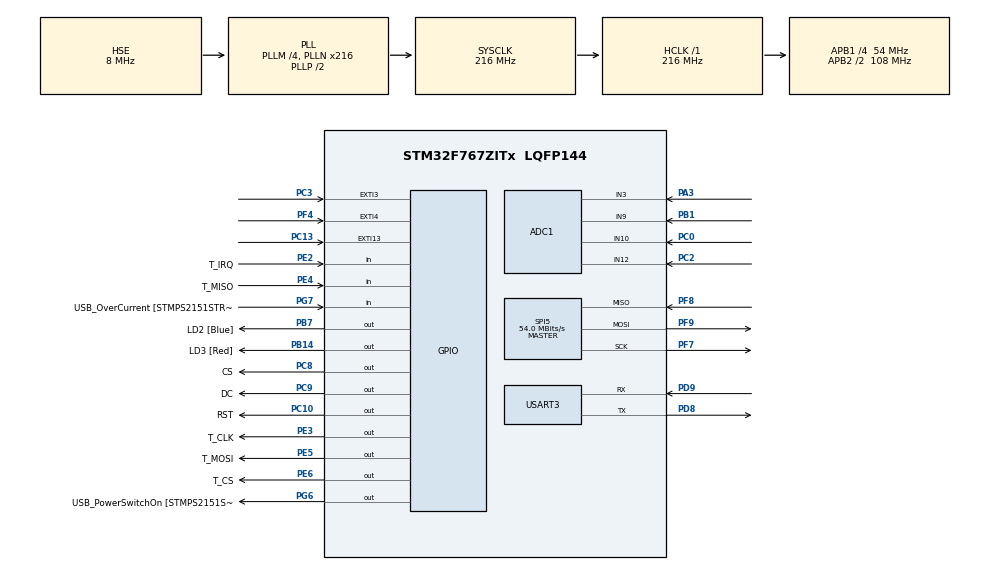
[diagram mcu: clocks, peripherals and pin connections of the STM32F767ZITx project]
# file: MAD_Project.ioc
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ADC1.Channel-0\#ChannelRegularConversion=ADC_CHANNEL_3
ADC1.Channel-1\#ChannelRegularConversion=ADC_CHANNEL_10
ADC1.Channel-2\#ChannelRegularConversion=ADC_CHANNEL_9
ADC1.Channel-3\#ChannelRegularConversion=ADC_CHANNEL_12
ADC1.ContinuousConvMode=DISABLE
ADC1.DMAContinuousRequests=ENABLE
ADC1.EOCSelection=ADC_EOC_SEQ_CONV
ADC1.NbrOfConversion=4
ADC1.NbrOfConversionFlag=1
ADC1.Rank-0\#ChannelRegularConversion=1
ADC1.Rank-1\#ChannelRegularConversion=2
ADC1.Rank-2\#ChannelRegularConversion=3
ADC1.Rank-3\#ChannelRegularConversion=4
ADC1.SamplingTime-0\#ChannelRegularConversion=ADC_SAMPLETIME_3CYCLES
ADC1.SamplingTime-1\#ChannelRegularConversion=ADC_SAMPLETIME_3CYCLES
ADC1.SamplingTime-2\#ChannelRegularConversion=ADC_SAMPLETIME_3CYCLES
ADC1.SamplingTime-3\#ChannelRegularConversion=ADC_SAMPLETIME_3CYCLES
ADC1.ScanConvMode=ADC_SCAN_ENABLE
ADC1.master=1
CORTEX_M7.ART_ACCLERATOR_ENABLE=1
CORTEX_M7.CPU_DCache=Enabled
CORTEX_M7.CPU_ICache=Enabled
CORTEX_M7.PREFETCH_ENABLE=1
Dma.ADC1.0.Direction=DMA_PERIPH_TO_MEMORY
Dma.ADC1.0.FIFOMode=DMA_FIFOMODE_ENABLE
Dma.ADC1.0.FIFOThreshold=DMA_FIFO_THRESHOLD_FULL
Dma.ADC1.0.Instance=DMA2_Stream0
Dma.ADC1.0.MemBurst=DMA_MBURST_SINGLE
Dma.ADC1.0.MemDataAlignment=DMA_MDATAALIGN_WORD
Dma.ADC1.0.MemInc=DMA_MINC_ENABLE
Dma.ADC1.0.Mode=DMA_NORMAL
Dma.ADC1.0.PeriphBurst=DMA_PBURST_SINGLE
Dma.ADC1.0.PeriphDataAlignment=DMA_PDATAALIGN_WORD
Dma.ADC1.0.PeriphInc=DMA_PINC_DISABLE
Dma.ADC1.0.Priority=DMA_PRIORITY_LOW
Dma.Request0=ADC1
Mcu.Family=STM32F7
Mcu.Name=STM32F767ZITx
Mcu.Package=LQFP144
NVIC.DMA2_Stream0_IRQn=true\:0\:0\:false\:false\:true\:false\:true\:true
NVIC.EXTI15_10_IRQn=true\:1\:0\:true\:false\:true\:true\:true\:true
NVIC.EXTI3_IRQn=true\:0\:0\:true\:false\:true\:true\:true\:true
NVIC.EXTI4_IRQn=true\:0\:0\:false\:false\:true\:true\:true\:true
NVIC.PriorityGroup=NVIC_PRIORITYGROUP_2
NVIC.TIM1_UP_TIM10_IRQn=true\:2\:0\:true\:false\:true\:true\:true\:true
NVIC.TIM2_IRQn=true\:1\:0\:true\:false\:true\:true\:true\:true
PA1.GPIO_Label=RMII_REF_CLK [LAN8742A-CZ-TR_REFCLK0]
PA1.Signal=ETH_REF_CLK
PA13.GPIO_Label=TMS
PA13.Mode=Serial_Wire
PA13.Signal=SYS_JTMS-SWDIO
PA14.GPIO_Label=TCK
PA14.Mode=Serial_Wire
PA14.Signal=SYS_JTCK-SWCLK
PA2.GPIO_Label=RMII_MDIO [LAN8742A-CZ-TR_MDIO]
PA2.Signal=ETH_MDIO
PA3.Signal=ADCx_IN3
PA7.GPIO_Label=RMII_CRS_DV [LAN8742A-CZ-TR_CRS_DV]
PA7.Signal=ETH_CRS_DV
PB1.Signal=ADCx_IN9
PB13.GPIO_Label=RMII_TXD1 [LAN8742A-CZ-TR_TXD1]
PB13.Signal=ETH_TXD1
PB14.GPIO_Label=LD3 [Red]
PB14.Signal=GPIO_Output
PB3.GPIO_Label=SWO
PB3.Signal=SYS_JTDO-SWO
PB7.GPIO_Label=LD2 [Blue]
PB7.Signal=GPIO_Output
PC0.Signal=ADCx_IN10
PC1.GPIO_Label=RMII_MDC [LAN8742A-CZ-TR_MDC]
PC1.Signal=ETH_MDC
PC10.GPIO_Label=RST
PC10.GPIO_Speed=GPIO_SPEED_FREQ_VERY_HIGH
PC10.Signal=GPIO_Output
PC13.GPIO_ModeDefaultEXTI=GPIO_MODE_IT_RISING
PC13.Signal=GPXTI13
PC14/OSC32_IN.Mode=LSE-External-Oscillator
PC14/OSC32_IN.Signal=RCC_OSC32_IN
PC15/OSC32_OUT.Mode=LSE-External-Oscillator
PC15/OSC32_OUT.Signal=RCC_OSC32_OUT
PC2.Signal=ADCx_IN12
PC3.GPIO_ModeDefaultEXTI=GPIO_MODE_IT_FALLING
PC3.GPIO_PuPd=GPIO_NOPULL
PC3.Signal=GPXTI3
PC4.GPIO_Label=RMII_RXD0 [LAN8742A-CZ-TR_RXD0]
PC4.Signal=ETH_RXD0
PC5.GPIO_Label=RMII_RXD1 [LAN8742A-CZ-TR_RXD1]
PC5.Signal=ETH_RXD1
PC8.GPIO_Label=CS
PC8.GPIO_Speed=GPIO_SPEED_FREQ_VERY_HIGH
PC8.Signal=GPIO_Output
PC9.GPIO_Label=DC
PC9.GPIO_Speed=GPIO_SPEED_FREQ_VERY_HIGH
PC9.Signal=GPIO_Output
PD8.Mode=Asynchronous
PD8.Signal=USART3_TX
PD9.Mode=Asynchronous
PD9.Signal=USART3_RX
PE2.GPIO_Label=T_IRQ
PE2.Signal=GPIO_Input
PE3.GPIO_Label=T_CLK
PE3.GPIO_Speed=GPIO_SPEED_FREQ_VERY_HIGH
PE3.Signal=GPIO_Output
PE4.GPIO_Label=T_MISO
PE4.Signal=GPIO_Input
PE5.GPIO_Label=T_MOSI
PE5.GPIO_Speed=GPIO_SPEED_FREQ_VERY_HIGH
PE5.Signal=GPIO_Output
PE6.GPIO_Label=T_CS
PE6.GPIO_Speed=GPIO_SPEED_FREQ_VERY_HIGH
PE6.Signal=GPIO_Output
PF4.Signal=GPXTI4
PF7.Mode=Full_Duplex_Master
PF7.Signal=SPI5_SCK
PF8.Mode=Full_Duplex_Master
PF8.Signal=SPI5_MISO
PF9.Mode=Full_Duplex_Master
PF9.Signal=SPI5_MOSI
PG11.GPIO_Label=RMII_TX_EN [LAN8742A-CZ-TR_TXEN]
PG11.Signal=ETH_TX_EN
PG13.GPIO_Label=RMII_TXD0 [LAN8742A-CZ-TR_TXD0]
PG13.Signal=ETH_TXD0
PG6.GPIO_Label=USB_PowerSwitchOn [STMPS2151STR_EN]
PG6.Signal=GPIO_Output
PG7.GPIO_Label=USB_OverCurrent [STMPS2151STR_FAULT]
PG7.Signal=GPIO_Input
PH0/OSC_IN.GPIO_Label=MCO [STM32F103CBT6_PA8]
PH0/OSC_IN.Mode=HSE-External-Clock-Source
PH0/OSC_IN.Signal=RCC_OSC_IN
PH1/OSC_OUT.Mode=HSE-External-Clock-Source
PH1/OSC_OUT.Signal=RCC_OSC_OUT
ProjectManager.HeapSize=0x200
ProjectManager.StackSize=0x400
ProjectManager.TargetToolchain=STM32CubeIDE
RCC.48MHZClocksFreq_Value=24000000
RCC.AHBFreq_Value=216000000
RCC.APB1CLKDivider=RCC_HCLK_DIV4
RCC.APB1Freq_Value=54000000
RCC.APB1TimFreq_Value=108000000
RCC.APB2CLKDivider=RCC_HCLK_DIV2
RCC.APB2Freq_Value=108000000
RCC.APB2TimFreq_Value=216000000
RCC.CortexFreq_Value=216000000
RCC.HCLKFreq_Value=216000000
RCC.HSE_VALUE=8000000
RCC.HSI_VALUE=16000000
RCC.PLLM=4
RCC.PLLMUL=RCC_PLL_MUL9
RCC.PLLN=216
RCC.PLLQ=9
RCC.PLLSourceVirtual=RCC_PLLSOURCE_HSE
RCC.PRESCALERUSB=RCC_USBCLKSOURCE_PLL_DIV1_5
RCC.SYSCLKFreq_VALUE=216000000
RCC.SYSCLKSource=RCC_SYSCLKSOURCE_PLLCLK
RCC.SYSCLKSourceVirtual=RCC_SYSCLKSOURCE_PLLCLK
RCC.USBFreq_Value=48000000
RCC.VCOOutputFreq_Value=432000000
SH.ADCx_IN10.0=ADC1_IN10,IN10
SH.ADCx_IN12.0=ADC1_IN12,IN12
SH.ADCx_IN3.0=ADC1_IN3,IN3
SH.ADCx_IN9.0=ADC1_IN9,IN9
SPI5.CalculateBaudRate=54.0 MBits/s
SPI5.DataSize=SPI_DATASIZE_8BIT
SPI5.Direction=SPI_DIRECTION_2LINES
SPI5.Mode=SPI_MODE_MASTER
SPI5.NSSPMode=SPI_NSS_PULSE_DISABLE
SPI5.VirtualType=VM_MASTER
TIM1.ClockDivision=TIM_CLOCKDIVISION_DIV2
TIM1.Period=2000
TIM1.Prescaler=2160-1
TIM2.Period=100000
TIM2.Prescaler=1080-1
USART3.VirtualMode-Asynchronous=VM_ASYNC
VP_RNG_VS_RNG.Mode=RNG_Activate
VP_TIM1_VS_ClockSourceINT.Mode=Internal
VP_TIM2_VS_ClockSourceINT.Mode=Internal
board=NUCLEO-F767ZI

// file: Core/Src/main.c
/* USER CODE BEGIN Header */
/**
  ******************************************************************************
  * @file           : main.c
  * @brief          : Main program body
  ******************************************************************************
  * @attention
  *
  * <h2><center>&copy; Copyright (c) 2021 STMicroelectronics.
  * All rights reserved.</center></h2>
  *
  * This software component is licensed by ST under BSD 3-Clause license,
  * the "License"; You may not use this file except in compliance with the
  * License. You may obtain a copy of the License at:
  *                        opensource.org/licenses/BSD-3-Clause
  *
  ******************************************************************************
  */
/* USER CODE END Header */
#include "main.h"
#include "adc.h"
#include "dma.h"
#include "rng.h"
#include "spi.h"
#include "tim.h"
#include "usart.h"
#include "gpio.h"

/* USER CODE BEGIN Includes */
#include "gameUtility.h"
#include "utility.h"
#include "stdio.h"
#include "ILI9341_Touchscreen.h"

#include "ILI9341_STM32_Driver.h"
#include "ILI9341_GFX.h"

#include "snow_tiger.h"
#include "icons.h"
/* USER CODE END Includes */

/* USER CODE BEGIN PV */
/* Private variables ---------------------------------------------------------*/

/* USER CODE END PV */

void SystemClock_Config(void);
/* USER CODE BEGIN PFP */
/* Private function prototypes -----------------------------------------------*/

/* USER CODE END PFP */

/* USER CODE BEGIN 0 */
#define GAME_TIME 300
bool endGameFlag=true;
char str[90];
uint8_t isTouchWithinRectangle(Rectangle rectangle, Point point) {
	return (point.x >= rectangle.x0 && point.x <= rectangle.x1
			&& point.y <= rectangle.y1 && point.y >= rectangle.y0);
}
void startGame();
void checkMap(Point cursor, int mapState[], Rectangle mapRectangle[]) {
	for (int i = 0; i < 3; i++) {
		if (isTouchWithinRectangle(mapRectangle[i], cursor)) {
			mapState[i] = 1;
			for (int j = 0; j < 3; j++) {
				if (j == i)
					continue;
				mapState[j] = 0;
			}
		}
		if (mapState[i]) {
			ILI9341_Draw_Filled_Rectangle_Coord((mapRectangle[i]).x0,
					(mapRectangle[i]).y0, (mapRectangle[i]).x1,
					(mapRectangle[i]).y1, 0x02e0);
			switch (i) {
			case 0:
				ILI9341_Draw_Text("Map 1", 48, 180, WHITE, 1, 0x02e0);
				break;
			case 1:
				ILI9341_Draw_Text("Map 2", 118, 180, WHITE, 1, 0x02e0);
				break;
			case 2:
				ILI9341_Draw_Text("Map 3", 188, 180, WHITE, 1, 0x02e0);
				break;
			}
		} else {
			ILI9341_Draw_Filled_Rectangle_Coord((mapRectangle[i]).x0,
					(mapRectangle[i]).y0, (mapRectangle[i]).x1,
					(mapRectangle[i]).y1,
					GREEN);
			ILI9341_Draw_Hollow_Rectangle_Coord((mapRectangle[i]).x0,
					(mapRectangle[i]).y0, (mapRectangle[i]).x1,
					(mapRectangle[i]).y1, 0x02e0);
			switch (i) {
			case 0:
				ILI9341_Draw_Text("Map 1", 48, 180, 0x02e0, 1,
				GREEN);
				break;
			case 1:
				ILI9341_Draw_Text("Map 2", 118, 180, 0x02e0, 1,
				GREEN);
				break;
			case 2:
				ILI9341_Draw_Text("Map 3", 188, 180, 0x02e0, 1,
				GREEN);
				break;
			}
		}
	}
}

int checkStartGame(int numPlayerState[], int mapState[], int characterState[],
		int characterState_2[], int displayScreen) {
	int checkPlay = 0;
	for (int i = 0; i < 2; i++) {
		if (numPlayerState[i] == 1) {
			checkPlay++;
			break;
		}
	}
	for (int i = 0; i < 3; i++) {
		if (mapState[i] == 1) {
			checkPlay++;
			break;
		}
	}

	for (int i = 0; i < 5; i++) {
		if (characterState[i] == 1) {
			checkPlay++;
			break;
		}
	}
	if (numPlayerState[1]) {
		for (int i = 0; i < 5; i++) {
			if (characterState_2[i] == 1) {
				checkPlay++;
				break;
			}
		}
	}

	if (numPlayerState[0] && checkPlay == 3) {
		displayScreen = 2;
		return 1;
	} else if (numPlayerState[1] && checkPlay == 4) {
		displayScreen = 2;
		return 1;
	} else {
		checkPlay = 0;
		return 0;
	}
}

void setting_winPage() {
	int numPlayerState[2] = { 0, 0 };
	int characterState[5] = { 0, 0, 0, 0, 0 };
	int characterState_2[5] = { 0, 0, 0, 0, 0 };
	int mapState[3] = { 0, 0, 0 };
	int displayScreen = 0;
	int mapID = 0;
	int stateWin = 3;

	Rectangle numPlayerRectangle[2] = { };
	Rectangle charRectangle[5] = { };
	Rectangle charHighlightRectangle[5] = { };
	Rectangle mapRectangle[3] = { };

	uint16_t xPos = 0;
	uint16_t yPos = 0;
//setting container
	Rectangle c1 = { 10, 50, 250, 90 }; //size: 40x240
	Rectangle c2 = { 10, 100, 250, 155 }; //size: 55x240
	Rectangle c3 = { 10, 160, 250, 205 }; //size: 40x240
//setting Button
	Rectangle bPlayer_1 = { 45, 65, 125, 85 }; //size: 80x20
	Rectangle bPlayer_2 = { 135, 65, 215, 85 }; //size: 80x20
//setting character
	Rectangle ch1 = { 30, 115, 62, 147 }; //size: 32x32
	Rectangle ch2 = { 72, 115, 104, 147 }; //size: 32x32
	Rectangle ch3 = { 114, 115, 146, 147 }; //size: 32x32
	Rectangle ch4 = { 156, 115, 188, 147 }; //size: 32x32
	Rectangle ch5 = { 198, 115, 230, 147 }; //size: 32x32
//setting hilight when choosen
	Rectangle hil_ch1 = { 28, 113, 64, 149 }; //size: 36x36
	Rectangle hil_ch2 = { 70, 113, 106, 149 }; //size: 36x36
	Rectangle hil_ch3 = { 112, 113, 148, 149 }; //size: 36x36
	Rectangle hil_ch4 = { 154, 113, 190, 149 }; //size: 36x36
	Rectangle hil_ch5 = { 196, 113, 232, 149 }; //size: 36x36
//setting Button
	Rectangle bMap_1 = { 30, 175, 90, 195 }; //size: 60x20
	Rectangle bMap_2 = { 100, 175, 160, 195 }; //size: 60x20
	Rectangle bMap_3 = { 170, 175, 230, 195 }; //size: 60x20

	Rectangle bPlay = { 90, 210, 170, 230 }; //size: 80x20
	Rectangle bNext = { 230, 210, 250, 230 }; //size: 20x20
	Rectangle bBack = { 10, 210, 30, 230 }; //size: 20x20

	const uint8_t SCREEN_ROTATION = SCREEN_HORIZONTAL_1;
	ILI9341_Set_Rotation(SCREEN_ROTATION);
	Image characterYellowList[5] = { playerIcon1Yellow_32, playerIcon2Yellow_32,
			playerIcon3Yellow_32, playerIcon4Yellow_32, playerIcon5Yellow_32 };
	Image characterOrangeList[5] = { playerIcon1Orange_32, playerIcon2Orange_32,
			playerIcon3Orange_32, playerIcon4Orange_32, playerIcon5Orange_32 };
	Image character112List[5] = { playerIcon1_112, playerIcon2_112,
			playerIcon3_112, playerIcon4_112, playerIcon5_112 };
	Image character56List[5] = { playerIcon1_56, playerIcon2_56,
				playerIcon3_56, playerIcon4_56, playerIcon5_56 };

	Point cursor;
	Point drawPos;
	while (1) {

		/* USER CODE END WHILE */

		/* USER CODE BEGIN 3 */
		sprintf(str,"value :%d endFlag:%b\n",displayScreen,endGameFlag);
		printOut(str);
		if (displayScreen == 0) {
			drawPos.x = 0;
			drawPos.y = 0;
			settingPage_1.drawPoint = drawPos;
			drawImageAtPoint(settingPage_1, SCREEN_ROTATION);
			ILI9341_Draw_Text("Bomber Man", 10, 10, BLACK, 4, WHITE);
			drawPos.x = 157;
			drawPos.y = 20;
			bombIcon_16.drawPoint = drawPos;
			drawImageAtPoint(bombIcon_16, SCREEN_ROTATION);
			//draw container
			ILI9341_Draw_Filled_Rectangle_Coord(c1.x0, c1.y0, c1.x1, c1.y1,
			CYAN);
			ILI9341_Draw_Filled_Rectangle_Coord(c2.x0, c2.y0, c2.x1, c2.y1,
			YELLOW);
			ILI9341_Draw_Filled_Rectangle_Coord(c3.x0, c3.y0, c3.x1, c3.y1,
			GREEN);
			//draw header text
			ILI9341_Draw_Text("Choose Number Of Players", 60, 53, BLACK, 1,
			CYAN);
			ILI9341_Draw_Text("Choose Character", 80, 103, BLACK, 1, YELLOW);
			ILI9341_Draw_Text("Choose Map", 100, 163, BLACK, 1, GREEN);

			ILI9341_Draw_Text("1 Player", 62, 70, 0x843f, 1, CYAN);
			ILI9341_Draw_Text("2 Player", 152, 70, 0x843f, 1, CYAN);
			numPlayerRectangle[0] = bPlayer_1;
			numPlayerRectangle[1] = bPlayer_2;

			charRectangle[0] = ch1;
			charRectangle[1] = ch2;
			charRectangle[2] = ch3;
			charRectangle[3] = ch4;
			charRectangle[4] = ch5;
			//picture
			for (int i = 0;
					i
							< sizeof(characterYellowList)
									/ sizeof(characterYellowList[0]); i++) {
				drawPos.x = charRectangle[i].x0;
				drawPos.y = charRectangle[i].y0;
				characterYellowList[i].drawPoint = drawPos;
				drawImageAtPoint(characterYellowList[i], SCREEN_ROTATION);
			}

			ILI9341_Draw_Filled_Rectangle_Coord(bPlay.x0, bPlay.y0, bPlay.x1,
					bPlay.y1, PINK);
			ILI9341_Draw_Text("PLAY", 108, 211, WHITE, 2, PINK);
			charHighlightRectangle[0] = hil_ch1;
			charHighlightRectangle[1] = hil_ch2;
			charHighlightRectangle[2] = hil_ch3;
			charHighlightRectangle[3] = hil_ch4;
			charHighlightRectangle[4] = hil_ch5;

			mapRectangle[0] = bMap_1;
			mapRectangle[1] = bMap_2;
			mapRectangle[2] = bMap_3;
			int player2_character;
			//play & next button
			//		Rectangle bPlay = { 90, 210, 170, 230 }; //size: 80x20
			while (1) {
				if (TP_Touchpad_Pressed()) {
					uint16_t position_array[2];

					if (TP_Read_Coordinates(position_array) == TOUCHPAD_DATA_OK) {
						if (SCREEN_ROTATION == SCREEN_HORIZONTAL_1) {
							xPos = position_array[1];
							yPos = SCREEN_HEIGHT - position_array[0];
						} else if (SCREEN_ROTATION == SCREEN_HORIZONTAL_2) {
							xPos = SCREEN_WIDTH - position_array[1];
							yPos = position_array[0];
						}
					}
					cursor.x = xPos;
					cursor.y = yPos;
				}
				for (int i = 0;
						i < sizeof(numPlayerState) / sizeof(numPlayerState[0]);
						i++) {
					if (isTouchWithinRectangle(numPlayerRectangle[i], cursor)) {
						numPlayerState[i] = 1;
						numPlayerState[(i == 0) ? 1 : 0] = 0;
					}
					if (numPlayerState[i]) {
						ILI9341_Draw_Filled_Rectangle_Coord(
								(numPlayerRectangle[i]).x0,
								(numPlayerRectangle[i]).y0,
								(numPlayerRectangle[i]).x1,
								(numPlayerRectangle[i]).y1, BLUE);
						if (i == 0) {
							ILI9341_Draw_Text("1 Player", 62, 70, WHITE, 1,
							BLUE);
							for (int i = 0;
									i
											< sizeof(characterState_2)
													/ sizeof(characterState_2[0]);
									i++) {
								characterState_2[i] = 0;
							}
							ILI9341_Draw_Hollow_Rectangle_Coord(
									(charHighlightRectangle[player2_character]).x0,
									(charHighlightRectangle[player2_character]).y0,
									(charHighlightRectangle[player2_character]).x1,
									(charHighlightRectangle[player2_character]).y1,
									YELLOW);
							ILI9341_Draw_Filled_Rectangle_Coord(bNext.x0 - 2,
									bNext.y0 - 2, bNext.x1 + 2, bNext.y1 + 2,
									WHITE);
						}

						else {
							ILI9341_Draw_Text("2 Player", 152, 70, WHITE, 1,
							BLUE);
						}

					} else {
						ILI9341_Draw_Filled_Rectangle_Coord(
								(numPlayerRectangle[i]).x0,
								(numPlayerRectangle[i]).y0,
								(numPlayerRectangle[i]).x1,
								(numPlayerRectangle[i]).y1, CYAN);
						ILI9341_Draw_Hollow_Rectangle_Coord(
								(numPlayerRectangle[i]).x0,
								(numPlayerRectangle[i]).y0,
								(numPlayerRectangle[i]).x1,
								(numPlayerRectangle[i]).y1, BLUE);
						if (i == 0)
							ILI9341_Draw_Text("1 Player", 62, 70, BLUE, 1,
							CYAN);
						else
							ILI9341_Draw_Text("2 Player", 150, 70, BLUE, 1,
							CYAN);
					}
				}
				for (int i = 0;
						i
								< sizeof(characterState_2)
										/ sizeof(characterState_2[0]); i++) {
					if (characterState_2[i]) {
						ILI9341_Draw_Hollow_Rectangle_Coord(
								(charHighlightRectangle[i]).x0,
								(charHighlightRectangle[i]).y0,
								(charHighlightRectangle[i]).x1,
								(charHighlightRectangle[i]).y1, BLUE);
						player2_character = i;
						break;
					}
				}
				for (int i = 0;
						i < sizeof(characterState) / sizeof(characterState[0]);
						i++) {
					if (player2_character == i)
						continue;
					if (isTouchWithinRectangle(charHighlightRectangle[i],
							cursor)) {
						characterState[i] = 1;
						for (int j = 0;
								j
										< sizeof(characterState)
												/ sizeof(characterState[0]);
								j++) {
							if (j == i)
								continue;
							characterState[j] = 0;
						}
					}
					if (characterState[i])
						ILI9341_Draw_Hollow_Rectangle_Coord(
								(charHighlightRectangle[i]).x0,
								(charHighlightRectangle[i]).y0,
								(charHighlightRectangle[i]).x1,
								(charHighlightRectangle[i]).y1, RED);
					else
						ILI9341_Draw_Hollow_Rectangle_Coord(
								(charHighlightRectangle[i]).x0,
								(charHighlightRectangle[i]).y0,
								(charHighlightRectangle[i]).x1,
								(charHighlightRectangle[i]).y1, YELLOW);
				}
				checkMap(cursor, mapState, mapRectangle);
				//				if (numPlayerState[0]) {
				//					ILI9341_Draw_Filled_Rectangle_Coord(bPlay.x0, bPlay.y0,
				//							bPlay.x1, bPlay.y1, PINK);
				//					ILI9341_Draw_Text("PLAY", 108, 211, WHITE, 2, PINK);
				//					if (isTouchWithinRectangle(bPlay, cursor)) {
				//						if (checkStartGame())
				//							break;
				//					}
				//				}
				if (numPlayerState[1]) {
					ILI9341_Draw_Filled_Rectangle_Coord(bNext.x0, bNext.y0,
							bNext.x1, bNext.y1, PURPLE);
					ILI9341_Draw_Text(">", 238, 211, WHITE, 2, PURPLE);
					if (isTouchWithinRectangle(bNext, cursor)) {
						displayScreen = 1;
						break;
					}
				}
				if (checkStartGame(numPlayerState, mapState, characterState,
						characterState_2, displayScreen)) {
					if (isTouchWithinRectangle(bPlay, cursor)){
						break;
					}
				}

				HAL_Delay(100);
			}
		}
		if (displayScreen == 1) {
			int player1_character;
			drawPos.x = 250;
			drawPos.y = 0;
			settingPage_2.drawPoint = drawPos;
			drawImageAtPoint(settingPage_2, SCREEN_ROTATION);
			ILI9341_Draw_Filled_Rectangle_Coord(c2.x0, c2.y0, c2.x1, c2.y1,
					0xFBE0);
			ILI9341_Draw_Text("Choose Character Of Player 2", 50, 103, BLACK, 1,
					0xFBE0);
			//			ILI9341_Draw_Filled_Rectangle_Coord(ch1.x0, ch1.y0, ch1.x1, ch1.y1,
			//			RED);
			//			ILI9341_Draw_Filled_Rectangle_Coord(ch2.x0, ch2.y0, ch2.x1, ch2.y1,
			//			RED);
			//			ILI9341_Draw_Filled_Rectangle_Coord(ch3.x0, ch3.y0, ch3.x1, ch3.y1,
			//			RED);
			//			ILI9341_Draw_Filled_Rectangle_Coord(ch4.x0, ch4.y0, ch4.x1, ch4.y1,
			//			RED);
			//			ILI9341_Draw_Filled_Rectangle_Coord(ch5.x0, ch5.y0, ch5.x1, ch5.y1,
			//			RED);
			for (int i = 0;
					i
							< sizeof(characterOrangeList)
									/ sizeof(characterOrangeList[0]); i++) {
				drawPos.x = charRectangle[i].x0;
				drawPos.y = charRectangle[i].y0;
				characterOrangeList[i].drawPoint = drawPos;
				drawImageAtPoint(characterOrangeList[i], SCREEN_ROTATION);
			}
			ILI9341_Draw_Filled_Rectangle_Coord(bNext.x0 - 2, bNext.y0 - 2,
					bNext.x1 + 2, bNext.y1 + 2, WHITE);
			//			ILI9341_Draw_Filled_Rectangle_Coord(bPlay.x0, bPlay.y0, bPlay.x1,
			//					bPlay.y1, PINK);
			//			ILI9341_Draw_Text("PLAY", 108, 211, WHITE, 2, PINK);
			ILI9341_Draw_Filled_Rectangle_Coord(bBack.x0, bBack.y0, bBack.x1,
					bBack.y1, PURPLE);
			ILI9341_Draw_Text("<", 15, 211, WHITE, 2, PURPLE);
			while (1) {
				for (int i = 0;
						i < sizeof(characterState) / sizeof(characterState[0]);
						i++) {
					if (characterState[i]) {
						ILI9341_Draw_Hollow_Rectangle_Coord(
								(charHighlightRectangle[i]).x0,
								(charHighlightRectangle[i]).y0,
								(charHighlightRectangle[i]).x1,
								(charHighlightRectangle[i]).y1, RED);
						player1_character = i;
						break;
					}
				}
				if (TP_Touchpad_Pressed()) {
					uint16_t position_array[2];

					if (TP_Read_Coordinates(position_array) == TOUCHPAD_DATA_OK) {
						if (SCREEN_ROTATION == SCREEN_HORIZONTAL_1) {
							xPos = position_array[1];
							yPos = SCREEN_HEIGHT - position_array[0];
						} else if (SCREEN_ROTATION == SCREEN_HORIZONTAL_2) {
							xPos = SCREEN_WIDTH - position_array[1];
							yPos = position_array[0];
						}
					}
					cursor.x = xPos;
					cursor.y = yPos;
				}
				for (int i = 0;
						i
								< sizeof(characterState_2)
										/ sizeof(characterState_2[0]); i++) {
					if (player1_character == i)
						continue;
					if (isTouchWithinRectangle(charHighlightRectangle[i],
							cursor)) {
						characterState_2[i] = 1;
						for (int j = 0;
								j
										< sizeof(characterState_2)
												/ sizeof(characterState_2[0]);
								j++) {
							if (j == i)
								continue;
							characterState_2[j] = 0;
						}
					}
					if (characterState_2[i])
						ILI9341_Draw_Hollow_Rectangle_Coord(
								(charHighlightRectangle[i]).x0,
								(charHighlightRectangle[i]).y0,
								(charHighlightRectangle[i]).x1,
								(charHighlightRectangle[i]).y1, BLUE);
					else
						ILI9341_Draw_Hollow_Rectangle_Coord(
								(charHighlightRectangle[i]).x0,
								(charHighlightRectangle[i]).y0,
								(charHighlightRectangle[i]).x1,
								(charHighlightRectangle[i]).y1, 0xFBE0);
				}
				checkMap(cursor, mapState, mapRectangle);
				if (isTouchWithinRectangle(bBack, cursor)) {
					displayScreen = 0;
					break;
				}
				if (isTouchWithinRectangle(numPlayerRectangle[0], cursor)) {
					displayScreen = 0;
					numPlayerState[0] = 1;
					numPlayerState[1] = 0;
					for (int i = 0;
							i
									< sizeof(characterState_2)
											/ sizeof(characterState_2[0]);
							i++) {
						characterState_2[i] = 0;
					}
					break;
				}
				//				if (isTouchWithinRectangle(bPlay, cursor)) {
				//					if (checkStartGame())
				//						break;
				//				}
				if (checkStartGame(numPlayerState, mapState, characterState,
						characterState_2, displayScreen)) {
					ILI9341_Draw_Filled_Rectangle_Coord(bPlay.x0, bPlay.y0,
							bPlay.x1, bPlay.y1, PINK);
					ILI9341_Draw_Text("PLAY", 108, 211, WHITE, 2, PINK);
					if (isTouchWithinRectangle(bPlay, cursor))
						break;
				}
				HAL_Delay(100);
			}
		}
		if (displayScreen == 2) {
			endGameFlag = false;
			startGame();
			while(!endGameFlag){}
			printOut("END LOOP\n");
			HAL_TIM_Base_Stop_IT(&htim1);
			displayScreen = 3;
		}
		if (displayScreen == 3) {
			drawPos.x = 0;
			drawPos.y = 0;
			winnerPage.drawPoint = drawPos;
			drawImageAtPoint(winnerPage, SCREEN_ROTATION);
			Rectangle winnerPic = { 100, 25, 212, 137 };

			Rectangle winnerTextContainer = { 95, 142, 215, 170 };
			ILI9341_Draw_Filled_Rectangle_Coord(winnerTextContainer.x0,
					winnerTextContainer.y0, winnerTextContainer.x1,
					winnerTextContainer.y1, YELLOW);

			Rectangle bReplay = { 55, 175, 150, 200 };
			Rectangle bNext = { 155, 175, 250, 200 };
			Rectangle bExit = { 108, 205, 203, 230 };

			ILI9341_Draw_Filled_Rectangle_Coord(bReplay.x0, bReplay.y0,
					bReplay.x1, bReplay.y1, CYAN);
			ILI9341_Draw_Filled_Rectangle_Coord(bNext.x0, bNext.y0, bNext.x1,
					bNext.y1, GREEN);
			ILI9341_Draw_Filled_Rectangle_Coord(bExit.x0, bExit.y0, bExit.x1,
					bExit.y1, ORANGE);

			ILI9341_Draw_Text("<REPLAY", 60, 179, BLACK, 2, CYAN);
			ILI9341_Draw_Text("NEXT>", 175, 179, BLACK, 2, GREEN);
			ILI9341_Draw_Text("EXIT", 133, 209, RED, 2, ORANGE);
			//�����褹����
			if(stateWin == 0){
				ILI9341_Draw_Text("WINNER", 103, 143, BLUE, 3, YELLOW);
				drawPos.x = winnerPic.x0;
				drawPos.y = winnerPic.y0;
				character112List[0].drawPoint = drawPos;
				drawImageAtPoint(character112List[0], SCREEN_ROTATION);
			}
			//����
			else if(stateWin > 0){
				ILI9341_Draw_Text("DRAW", 120, 143, BLUE, 3, YELLOW);
				//���� 2
				if(stateWin == 1){
					drawPos.x = winnerPic.x0;
					drawPos.y = winnerPic.y0+28;
					character56List[0].drawPoint = drawPos;
					drawImageAtPoint(character56List[0], SCREEN_ROTATION);
					drawPos.x = winnerPic.x1-56;
					drawPos.y = winnerPic.y0+28;
					character56List[1].drawPoint = drawPos;
					drawImageAtPoint(character56List[1], SCREEN_ROTATION);
				}
				//���� 3
				if(stateWin == 2){
					drawPos.x = winnerPic.x0;
					drawPos.y = winnerPic.y0;
					character56List[0].drawPoint = drawPos;
					drawImageAtPoint(character56List[0], SCREEN_ROTATION);
					drawPos.x = winnerPic.x0+56;
					drawPos.y = winnerPic.y0;
					character56List[1].drawPoint = drawPos;
					drawImageAtPoint(character56List[1], SCREEN_ROTATION);
					drawPos.x = winnerPic.x0+32;
					drawPos.y = winnerPic.y0+56;
					character56List[2].drawPoint = drawPos;
					drawImageAtPoint(character56List[2], SCREEN_ROTATION);

				}
				//���� 4
				if(stateWin == 3){
					drawPos.x = winnerPic.x0;
					drawPos.y = winnerPic.y0;
					character56List[0].drawPoint = drawPos;
					drawImageAtPoint(character56List[0], SCREEN_ROTATION);
					drawPos.x = winnerPic.x0+56;
					drawPos.y = winnerPic.y0;
					character56List[1].drawPoint = drawPos;
					drawImageAtPoint(character56List[1], SCREEN_ROTATION);
					drawPos.x = winnerPic.x0;
					drawPos.y = winnerPic.y0+56;
					character56List[2].drawPoint = drawPos;
					drawImageAtPoint(character56List[2], SCREEN_ROTATION);
					drawPos.x = winnerPic.x0+56;
					drawPos.y = winnerPic.y0+56;
					character56List[3].drawPoint = drawPos;
					drawImageAtPoint(character56List[3], SCREEN_ROTATION);
				}
			}
			while (1) {
				if (HAL_GPIO_ReadPin(GPIOE, GPIO_PIN_10) == GPIO_PIN_SET) {
					displayScreen = 2;
					break;
				}
				if (HAL_GPIO_ReadPin(GPIOE, GPIO_PIN_11) == GPIO_PIN_SET) {
					displayScreen = 2;
					mapID++;
					break;
				}
				if (HAL_GPIO_ReadPin(GPIOE, GPIO_PIN_12) == GPIO_PIN_SET) {
					displayScreen = 0;
					mapID = 0;
					break;
				}
				HAL_Delay(200);
			}
		}
	}
}
//----------------------------------------------------------

Vector2 offset = {OFFSET_X,OFFSET_Y};
Vector2 mapSize = {MAP_WIDTH,MAP_HEIGHT};
Vector2 cellSize = {CELL_SIZE,CELL_SIZE};
Vector2 itemSize = {ITEM_SIZE,ITEM_SIZE};
MapCell map[MAP_HEIGHT][MAP_WIDTH];
Transform walls[4] = {
	{{OFFSET_X-CELL_SIZE/2,OFFSET_Y-CELL_SIZE/2},{CELL_SIZE,CELL_SIZE*MAP_HEIGHT},TopRight},
	{{OFFSET_X-CELL_SIZE/2,OFFSET_Y-CELL_SIZE/2},{CELL_SIZE*MAP_WIDTH,CELL_SIZE},BottomLeft},
	{{OFFSET_X+CELL_SIZE*(MAP_WIDTH-.5),OFFSET_Y+CELL_SIZE*(MAP_HEIGHT-.5)},{CELL_SIZE,CELL_SIZE*MAP_HEIGHT},BottomLeft},
	{{OFFSET_X+CELL_SIZE*(MAP_WIDTH-.5),OFFSET_Y+CELL_SIZE*(MAP_HEIGHT-.5)},{CELL_SIZE*MAP_WIDTH,CELL_SIZE},TopRight},
};
int clock =0;
int TimeTotal=0;
int playerCount =2;
Player* players ;
PlayerUI* playerUIs;
Queue bombs ={NULL,NULL,0};
Queue detonateEffects = {NULL,NULL,0};
int32_t buffer[4];
void HAL_TIM_PeriodElapsedCallback(TIM_HandleTypeDef *htim){
	if(htim==&htim1){
		TimeTotal += 20;
		int deadFlagTotal = 0;
		for(int i=0;i<playerCount;i++){
			if(players[i].deadFlag)
				deadFlagTotal ++;
		}
		if(deadFlagTotal+1<playerCount){
			HAL_ADC_Start_DMA(&hadc1,(uint32_t *)buffer,4);
		}
	}
	else if(htim==&htim2){
		clock++;
		sprintf(str,"%d:%d\n",clock/60,clock%60);
		printOut(str);

	}
}
void HAL_ADC_ConvCpltCallback(ADC_HandleTypeDef* hadc){
	int time=TimeTotal;
	if(TimeTotal>=GAME_TIME)
	while(bombs.size&&((Bomb*)bombs.front->value)->detonateTime<time){

		detonate((Bomb*)bombs.front->value);
	}
	while(detonateEffects.size&&((DetonateEffect*)detonateEffects.front->value)->deconstructTime<time){

		clearObject(((DetonateEffect*)detonateEffects.front->value)->index,true);
	}
	for(int i=0;i<playerCount;i++){
		if(players[i].immortalFlag&&time-players[i].initialImmortalTime>IMMORTAL_DURATION)
			players[i].immortalFlag = false;
	}
	updateMap();
	for(int i=0,humanPlayerCount =0;i<playerCount;i++){
		if(players[i].botFlag){
			if(!players[i].deadFlag){
				Vector2 dst=Sub( toPosition(findNextIndex(&players[i])) ,players[i].transform.position);
				dst.x = clamp(-1,dst.x,1);
				dst.y = clamp(-1,dst.y,1);
				Move(&players[i],dst);
			}
		}
		else{
			int num =(humanPlayerCount == 0)?0:2;
			if(humanPlayerCount<2){
				if(!players[i].deadFlag)
					Move(&players[i],Vector2_init(mappingValue(buffer[num],0,0xfff,-3,3) ,mappingValue(buffer[num+1],0,0xfff,3,-3)));
			}

			humanPlayerCount++;
		}
	}

	drawPlayers(players,playerCount);
	for(int i=0;i<playerCount;i++)
		DrawPlayerUI(&playerUIs[i]);
	Vector2 clockPosition = Vector2_init(UI_MARGIN,10);
	int timeLeft = GAME_TIME - clock;
	int minute = timeLeft/60,second=timeLeft%60;
	if(second<10)
		sprintf(str,"%d:0%d",minute,second);
	else
		sprintf(str,"%d:%d",minute,second);
	ILI9341_Draw_Text(str,clockPosition.x,clockPosition.y, WHITE, 2, BLACK);
}
void HAL_GPIO_EXTI_Callback(uint16_t GPIO_Pin){
	int humanTotal = 0;
	int val=-1;
	if(GPIO_Pin==GPIO_PIN_3){ val =1; }
	else if(GPIO_Pin==GPIO_PIN_4){ val =2; }
	if(val!=-1){
		for(int i=0;i<playerCount;i++){
			if(!players[i].botFlag){
				humanTotal++;
				if(humanTotal == val){
					placeBomb(&players[i]);
					break;
				}
			}
		}
	}
}
void SetPlayers(int count,bool* isBot){
	playerCount = count;
	players = calloc(playerCount,sizeof(Player));
	playerUIs = calloc(playerCount,sizeof(PlayerUI));
	char *playerImage[4]={
		playerImage1,
		playerImage2,
		playerImage3,
		playerImage4
	};
	char *playerImageBomb[4]={
			playerImage1Bomb,
			playerImage2Bomb,
			playerImage3Bomb,
			playerImage4Bomb
		};
	Vector2 startPosition[4]={
			{0,0},
			{0,MAP_HEIGHT-1},
			{MAP_WIDTH-1,0},
			{MAP_WIDTH-1,MAP_HEIGHT-1},
	};
	for(int i=0;i<playerCount;i++){
		players[i] = Player_init(startPosition[i],playerImage[i],playerImageBomb[i],isBot[i]);
	}
	for(int i=0;i<playerCount;i++){
		playerUIs[i] = PlayerUI_init(&players[i],Vector2_init(5,40+(16+UI_MARGIN)*3*i));
	}
	Transform UI_Bg =Transform_init(Vector2_init(0,0),Vector2_init(5+(16+UI_MARGIN)*5,240),TopLeft);
	Draw(&UI_Bg,BLACK);
}
void startGame(){
	for(int i=0;i<mapSize.y;i++){
		for(int j=0;j<mapSize.x;j++){
			Vector2 index = Vector2_init(j,i);
			map[i][j].floor = Transform_init(toPosition(index),cellSize,MiddleCenter);
		}
	}
	clock = 0;
	ILI9341_Fill_Screen(0x5AED);
	setMap(2);

	bool isBot[4]={false,false,true,true};
	SetPlayers(4,isBot);
	HAL_TIM_Base_Start_IT(&htim1);
}
/* USER CODE END 0 */

int main(void)
{

  /* Enable I-Cache---------------------------------------------------------*/
  SCB_EnableICache();

  /* Enable D-Cache---------------------------------------------------------*/
  SCB_EnableDCache();

  /* MCU Configuration--------------------------------------------------------*/

  /* Reset of all peripherals, Initializes the Flash interface and the Systick. */
  HAL_Init();

  /* Configure the system clock */
  SystemClock_Config();

  /* Initialize all configured peripherals */
  MX_GPIO_Init();
  MX_DMA_Init();
  MX_TIM1_Init();
  MX_RNG_Init();
  MX_ADC1_Init();
  MX_SPI5_Init();
  MX_USART3_UART_Init();
  MX_TIM2_Init();
  /* USER CODE BEGIN 2 */
  ILI9341_Init();//initial driver setup to drive ili9341
  /* USER CODE END 2 */

  /* Infinite loop */
  /* USER CODE BEGIN WHILE */
  srand(HAL_GetTick());
  HAL_TIM_Base_Start_IT(&htim2);
  ILI9341_Set_Rotation(SCREEN_HORIZONTAL_1);
  while (1)
  {
	  setting_winPage();
  }
  /* USER CODE END 3 */
}

void SystemClock_Config(void)
{
  RCC_OscInitTypeDef RCC_OscInitStruct = {0};
  RCC_ClkInitTypeDef RCC_ClkInitStruct = {0};

  /** Configure LSE Drive Capability
  */
  HAL_PWR_EnableBkUpAccess();

  /** Configure the main internal regulator output voltage
  */
  __HAL_RCC_PWR_CLK_ENABLE();
  __HAL_PWR_VOLTAGESCALING_CONFIG(PWR_REGULATOR_VOLTAGE_SCALE1);

  /** Initializes the RCC Oscillators according to the specified parameters
  * in the RCC_OscInitTypeDef structure.
  */
  RCC_OscInitStruct.OscillatorType = RCC_OSCILLATORTYPE_HSE;
  RCC_OscInitStruct.HSEState = RCC_HSE_BYPASS;
  RCC_OscInitStruct.PLL.PLLState = RCC_PLL_ON;
  RCC_OscInitStruct.PLL.PLLSource = RCC_PLLSOURCE_HSE;
  RCC_OscInitStruct.PLL.PLLM = 4;
  RCC_OscInitStruct.PLL.PLLN = 216;
  RCC_OscInitStruct.PLL.PLLP = RCC_PLLP_DIV2;
  RCC_OscInitStruct.PLL.PLLQ = 9;
  RCC_OscInitStruct.PLL.PLLR = 2;
  if (HAL_RCC_OscConfig(&RCC_OscInitStruct) != HAL_OK)
  {
    Error_Handler();
  }

  /** Activate the Over-Drive mode
  */
  if (HAL_PWREx_EnableOverDrive() != HAL_OK)
  {
    Error_Handler();
  }

  /** Initializes the CPU, AHB and APB buses clocks
  */
  RCC_ClkInitStruct.ClockType = RCC_CLOCKTYPE_HCLK|RCC_CLOCKTYPE_SYSCLK
                              |RCC_CLOCKTYPE_PCLK1|RCC_CLOCKTYPE_PCLK2;
  RCC_ClkInitStruct.SYSCLKSource = RCC_SYSCLKSOURCE_PLLCLK;
  RCC_ClkInitStruct.AHBCLKDivider = RCC_SYSCLK_DIV1;
  RCC_ClkInitStruct.APB1CLKDivider = RCC_HCLK_DIV4;
  RCC_ClkInitStruct.APB2CLKDivider = RCC_HCLK_DIV2;

  if (HAL_RCC_ClockConfig(&RCC_ClkInitStruct, FLASH_LATENCY_7) != HAL_OK)
  {
    Error_Handler();
  }
}

void Error_Handler(void)
{
  while(1)
  {
  }
}
